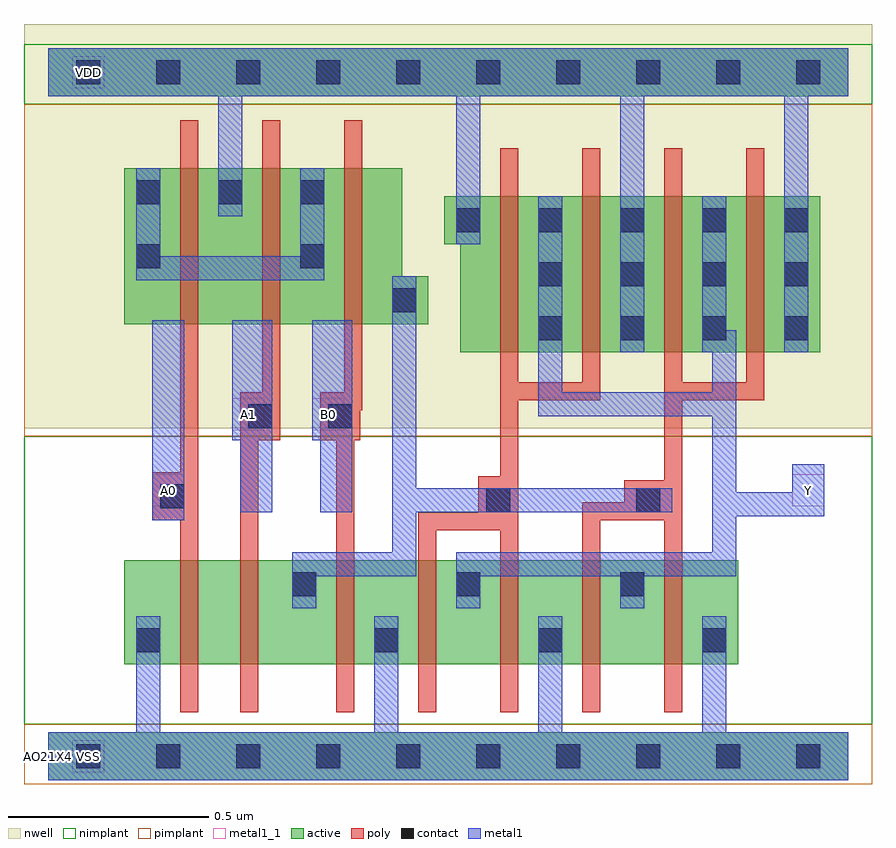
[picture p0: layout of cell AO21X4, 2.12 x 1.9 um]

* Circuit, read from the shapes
.subckt AO21X4 A0 A1 B0 VDD VSS Y
M1 n1 A0 VSS VSS nfet w=0.26u l=0.045u
M2 n2 A1 n1 VSS nfet w=0.26u l=0.045u
M3 VSS B0 n2 VSS nfet w=0.26u l=0.045u
M4 Y n2 VSS VSS nfet w=0.26u l=0.045u m=4
M5 VDD A0 n3 VDD pfet w=0.39u l=0.045u
M6 n3 A1 VDD VDD pfet w=0.39u l=0.045u
M7 n2 B0 n3 VDD pfet w=0.39u l=0.045u
M8 Y n2 VDD VDD pfet w=0.39u l=0.045u m=4
.ends

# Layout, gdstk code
import gdstk
lib = gdstk.Library(unit=1e-6, precision=5e-10)
def R(c, l, rs):  # rectangles x0, y0, x1, y1
    for r in rs: c.add(gdstk.rectangle(r[:2], r[2:], *l))
def A(c, l, x, y, w, h, nx, ny, dx, dy):  # array of equal rectangles
    R(c, l, [(x+i*dx, y+j*dy, x+i*dx+w, y+j*dy+h) for i in range(nx) for j in range(ny)])
def P(c, l, *ps):  # polygons
    for p in ps: c.add(gdstk.Polygon(p, *l))
active = (1, 0)
nwell = (2, 0)
poly = (3, 0)
nimplant = (4, 0)
pimplant = (5, 0)
contact = (6, 0)
metal1 = (7, 0)
metal1_1 = (7, 1)

ao21x4 = lib.new_cell('AO21X4')
R(ao21x4, active, [(0,-0.06,2,0.06), (0.19,0.23,1.725,0.49), (0,1.65,2,1.77)])
P(ao21x4, active, [(0.19,1.47),(0.885,1.47),(0.885,1.2),(0.95,1.2),(0.95,1.08),(0.19,1.08)],
  [(0.99,1.4),(1.93,1.4),(1.93,1.01),(1.03,1.01),(1.03,1.28),(0.99,1.28)])
R(ao21x4, nwell, [(-0.06,0.82,2.06,1.83)])
P(ao21x4, poly, [(0.33,1.59),(0.375,1.59),(0.375,0.11),(0.33,0.11),(0.33,0.59),(0.26,0.59),(0.26,0.71),(0.33,0.71)],
  [(0.535,1.59),(0.58,1.59),(0.58,0.79),(0.525,0.79),(0.525,0.11),(0.48,0.11),(0.48,0.91),(0.535,0.91)],
  [(0.74,1.59),(0.785,1.59),(0.785,0.865),(0.78,0.865),(0.78,0.79),(0.765,0.79),(0.765,0.11),(0.72,0.11),(0.72,0.79),(0.68,0.79),(0.68,0.91),(0.74,0.91)],
  [(1.13,1.52),(1.175,1.52),(1.175,0.935),(1.335,0.935),(1.335,1.52),(1.38,1.52),(1.38,0.89),(1.175,0.89),(1.175,0.11),(1.13,0.11),(1.13,0.565),(0.97,0.565),(0.97,0.11),(0.925,0.11),(0.925,0.61),(1.075,0.61),(1.075,0.7),(1.13,0.7)],
  [(1.54,1.52),(1.585,1.52),(1.585,0.935),(1.745,0.935),(1.745,1.52),(1.79,1.52),(1.79,0.89),(1.585,0.89),(1.585,0.11),(1.54,0.11),(1.54,0.59),(1.38,0.59),(1.38,0.11),(1.335,0.11),(1.335,0.635),(1.44,0.635),(1.44,0.69),(1.54,0.69)])
R(ao21x4, nimplant, [(-0.06,0.08,2.06,0.8), (-0.06,1.63,2.06,1.78)])
R(ao21x4, pimplant, [(-0.06,-0.07,2.06,0.08), (-0.06,0.8,2.06,1.63)])
A(ao21x4, contact, 0.07, -0.03, 0.06, 0.06, 10, 2, 0.2, 1.71)
A(ao21x4, contact, 0.815, 0.26, 0.06, 0.06, 3, 1, 0.41, 0)
A(ao21x4, contact, 0.61, 0.4, 0.06, 0.06, 3, 1, 0.41, 0)
A(ao21x4, contact, 1.225, 1.04, 0.06, 0.06, 4, 2, 0.205, 0.135)
A(ao21x4, contact, 1.02, 1.31, 0.06, 0.06, 5, 1, 0.205, 0)
A(ao21x4, contact, 0.22, 1.38, 0.06, 0.06, 3, 1, 0.205, 0)
R(ao21x4, contact, [(0.22,0.26,0.28,0.32), (1.095,0.61,1.155,0.67), (1.47,0.61,1.53,0.67), (0.28,0.62,0.34,0.68), (0.5,0.82,0.56,0.88), (0.7,0.82,0.76,0.88), (0.86,1.11,0.92,1.17), (0.22,1.22,0.28,1.28), (0.63,1.22,0.69,1.28)])
R(ao21x4, metal1, [(0.26,0.59,0.34,1.09)])
P(ao21x4, metal1, [(0,1.77),(2,1.77),(2,1.65),(1.9,1.65),(1.9,1.01),(1.84,1.01),(1.84,1.65),(1.49,1.65),(1.49,1.01),(1.43,1.01),(1.43,1.65),(1.08,1.65),(1.08,1.28),(1.02,1.28),(1.02,1.65),(0.485,1.65),(0.485,1.35),(0.425,1.35),(0.425,1.65),(0,1.65)],
  [(0.22,1.47),(0.28,1.47),(0.28,1.25),(0.63,1.25),(0.63,1.47),(0.69,1.47),(0.69,1.19),(0.22,1.19)],
  [(1.225,1.4),(1.285,1.4),(1.285,0.91),(1.66,0.91),(1.66,1.01),(1.635,1.01),(1.635,1.4),(1.695,1.4),(1.695,1.065),(1.72,1.065),(1.72,0.66),(1.86,0.66),(1.86,0.73),(1.94,0.73),(1.94,0.6),(1.72,0.6),(1.72,0.45),(1.49,0.45),(1.49,0.37),(1.43,0.37),(1.43,0.45),(1.08,0.45),(1.08,0.37),(1.02,0.37),(1.02,0.51),(1.66,0.51),(1.66,0.85),(1.225,0.85)],
  [(0.86,1.2),(0.92,1.2),(0.92,0.67),(1.56,0.67),(1.56,0.61),(0.92,0.61),(0.92,0.45),(0.67,0.45),(0.67,0.37),(0.61,0.37),(0.61,0.51),(0.86,0.51)],
  [(0.46,1.09),(0.56,1.09),(0.56,0.61),(0.48,0.61),(0.48,0.79),(0.46,0.79)],
  [(0.66,1.09),(0.76,1.09),(0.76,0.61),(0.68,0.61),(0.68,0.79),(0.66,0.79)],
  [(0.22,0.35),(0.28,0.35),(0.28,0.06),(0.815,0.06),(0.815,0.35),(0.875,0.35),(0.875,0.06),(1.225,0.06),(1.225,0.35),(1.285,0.35),(1.285,0.06),(1.635,0.06),(1.635,0.35),(1.695,0.35),(1.695,0.06),(2,0.06),(2,-0.06),(0,-0.06),(0,0.06),(0.22,0.06)])
R(ao21x4, metal1_1, [(0.06,-0.04,0.14,0.04), (0.26,0.625,0.34,0.705), (1.86,0.625,1.94,0.705), (0.46,0.815,0.54,0.895), (0.66,0.815,0.74,0.895), (0.06,1.67,0.14,1.75)])
ao21x4.add(gdstk.Label('Y', (1.9,0.665), layer=7, texttype=1))
ao21x4.add(gdstk.Label('A0', (0.3,0.665), layer=7, texttype=1))
ao21x4.add(gdstk.Label('A1', (0.5,0.855), layer=7, texttype=1))
ao21x4.add(gdstk.Label('B0', (0.7,0.855), layer=7, texttype=1))
ao21x4.add(gdstk.Label('VDD', (0.1,1.71), layer=7, texttype=1))
ao21x4.add(gdstk.Label('VSS', (0.1,0), layer=7, texttype=1))
ao21x4.add(gdstk.Label('AO21X4', (0,0), layer=63, texttype=0))

lib.write_gds('AO21X4.gds')
